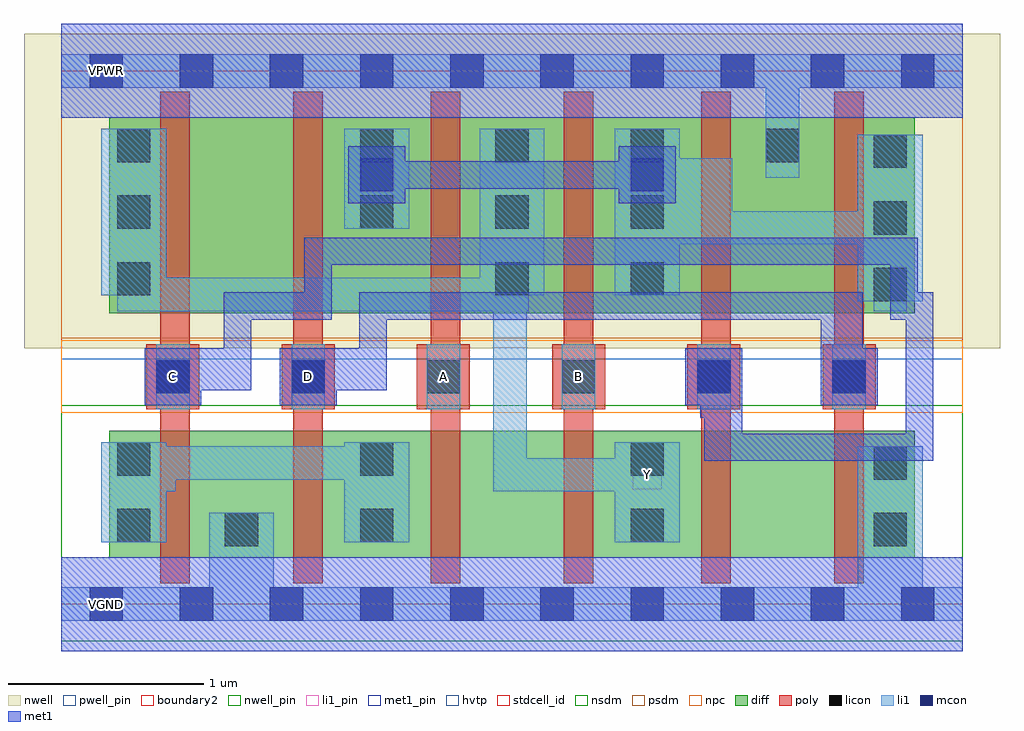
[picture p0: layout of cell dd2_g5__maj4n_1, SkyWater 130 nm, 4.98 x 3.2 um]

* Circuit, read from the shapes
.subckt dd2_g5__maj4n_1 A B C D VGND VNB VPB VPWR Y
XM1 VGND C n1 VNB sky130_fd_pr__nfet_01v8 w=0.65 l=0.15
XM2 n1 D VGND VNB sky130_fd_pr__nfet_01v8 w=0.65 l=0.15
XM3 n2 A n1 VNB sky130_fd_pr__nfet_01v8 w=0.65 l=0.15
XM4 Y B n2 VNB sky130_fd_pr__nfet_01v8 w=0.65 l=0.15
XM5 n3 C Y VNB sky130_fd_pr__nfet_01v8 w=0.65 l=0.15
XM6 VGND D n3 VNB sky130_fd_pr__nfet_01v8 w=0.65 l=0.15
XM7 n4 C Y VPB sky130_fd_pr__pfet_01v8_hvt w=1 l=0.15
XM8 n5 D n4 VPB sky130_fd_pr__pfet_01v8_hvt w=1 l=0.15
XM9 Y A n5 VPB sky130_fd_pr__pfet_01v8_hvt w=1 l=0.15
XM10 n5 B Y VPB sky130_fd_pr__pfet_01v8_hvt w=1 l=0.15
XM11 VPWR C n5 VPB sky130_fd_pr__pfet_01v8_hvt w=1 l=0.15
XM12 n5 D VPWR VPB sky130_fd_pr__pfet_01v8_hvt w=1 l=0.15
.ends

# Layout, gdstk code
import gdstk
lib = gdstk.Library(unit=1e-6, precision=1e-09)
def R(c, l, rs):  # rectangles x0, y0, x1, y1
    for r in rs: c.add(gdstk.rectangle(r[:2], r[2:], *l))
def A(c, l, x, y, w, h, nx, ny, dx, dy):  # array of equal rectangles
    R(c, l, [(x+i*dx, y+j*dy, x+i*dx+w, y+j*dy+h) for i in range(nx) for j in range(ny)])
nwell_pin = (64, 16)
nwell = (64, 20)
diff = (65, 20)
poly = (66, 20)
licon = (66, 44)
li1_pin = (67, 16)
li1 = (67, 20)
mcon = (67, 44)
met1_pin = (68, 16)
met1 = (68, 20)
hvtp = (78, 44)
stdcell_id = (81, 4)
nsdm = (93, 44)
psdm = (94, 20)
npc = (95, 20)
pwell_pin = (122, 16)
boundary2 = (236, 0)

dd2_g5__maj4n_1 = lib.new_cell('dd2_g5__maj4n_1')
R(dd2_g5__maj4n_1, nwell_pin, [(0.145,2.635,0.315,2.805)])
R(dd2_g5__maj4n_1, nwell, [(-0.19,1.305,4.79,2.91)])
R(dd2_g5__maj4n_1, diff, [(0.245,0.235,1.26,0.885), (0.58,0.235,1.96,0.885), (1.26,0.235,2.64,0.885), (1.96,0.235,3.34,0.885), (2.64,0.235,4.02,0.885), (3.34,0.235,4.355,0.885), (0.245,1.485,1.26,2.485), (0.58,1.485,1.96,2.485), (1.26,1.485,2.64,2.485), (1.96,1.485,3.34,2.485), (2.64,1.485,4.02,2.485), (3.34,1.485,4.355,2.485)])
A(dd2_g5__maj4n_1, poly, 0.435, 0.995, 0.27, 0.33, 6, 1, 0.69, 0)
R(dd2_g5__maj4n_1, poly, [(0.505,0.105,0.655,2.615), (1.185,0.105,1.335,2.615), (1.885,0.105,2.035,2.615), (2.565,0.105,2.715,2.615), (3.265,0.105,3.415,2.615), (3.945,0.105,4.095,2.615)])
A(dd2_g5__maj4n_1, licon, 0.485, 1.075, 0.17, 0.17, 6, 1, 0.69, 0)
A(dd2_g5__maj4n_1, licon, 4.145, 1.545, 0.17, 0.17, 1, 3, 0, 0.34)
A(dd2_g5__maj4n_1, licon, 0.285, 1.575, 0.17, 0.17, 1, 3, 0, 0.34)
A(dd2_g5__maj4n_1, licon, 1.525, 1.915, 0.17, 0.17, 3, 1, 0.69, 0)
A(dd2_g5__maj4n_1, licon, 1.525, 2.255, 0.17, 0.17, 4, 1, 0.69, 0)
R(dd2_g5__maj4n_1, licon, [(0.835,0.295,1.005,0.465), (4.145,0.295,4.315,0.465), (0.285,0.315,0.455,0.485), (1.525,0.315,1.695,0.485), (2.905,0.315,3.075,0.485), (4.145,0.635,4.315,0.805), (0.285,0.655,0.455,0.825), (1.525,0.655,1.695,0.825), (2.905,0.655,3.075,0.825), (2.215,1.575,2.385,1.745), (2.905,1.575,3.075,1.745)])
A(dd2_g5__maj4n_1, li1_pin, 0.495, 1.085, 0.15, 0.15, 6, 1, 0.69, 0)
R(dd2_g5__maj4n_1, li1_pin, [(0.145,-0.085,0.315,0.085), (2.915,0.585,3.065,0.735), (0.145,2.635,0.315,2.805)])
A(dd2_g5__maj4n_1, li1, 0.485, 0.995, 0.17, 0.33, 6, 1, 0.69, 0)
R(dd2_g5__maj4n_1, li1, [(0,-0.085,4.6,0.085), (0.755,0.085,1.085,0.465), (4.065,0.085,4.395,0.805), (0.205,0.315,0.535,0.575), (1.445,0.315,1.775,0.635), (2.825,0.315,3.155,0.575), (0.205,0.575,0.585,0.635), (2.205,0.575,3.155,0.745), (0.205,0.635,1.775,0.805), (2.205,0.745,2.375,1.495), (2.825,0.745,3.155,0.825), (0.205,0.805,0.535,0.825), (1.445,0.805,1.775,0.825), (0.285,1.495,2.385,1.575), (4.145,1.495,4.315,1.545), (4.065,1.545,4.395,1.835), (0.205,1.575,2.465,1.665), (2.825,1.575,3.155,1.835), (0.205,1.665,0.535,2.425), (2.135,1.665,2.465,2.425), (2.825,1.835,4.395,2.005), (1.445,1.915,1.775,2.425), (2.825,2.005,3.425,2.275), (4.065,2.005,4.395,2.395), (3.595,2.175,3.765,2.635), (2.825,2.275,3.155,2.425), (0,2.635,4.6,2.805)])
A(dd2_g5__maj4n_1, mcon, 0.145, -0.085, 0.17, 0.17, 10, 2, 0.46, 2.72)
R(dd2_g5__maj4n_1, mcon, [(0.485,1.075,0.655,1.245), (1.175,1.075,1.345,1.245), (3.245,1.075,3.415,1.245), (3.935,1.075,4.105,1.245), (1.525,2.105,1.695,2.275), (2.905,2.105,3.075,2.275)])
R(dd2_g5__maj4n_1, met1_pin, [(0.145,-0.085,0.315,0.085), (0.145,2.635,0.315,2.805)])
R(dd2_g5__maj4n_1, met1, [(0,-0.24,4.6,0.24), (3.28,0.73,4.45,0.87), (3.28,0.87,3.475,0.95), (4.31,0.87,4.45,1.45), (3.26,0.95,3.475,1.015), (0.425,1.015,0.715,1.09), (1.115,1.015,1.405,1.09), (3.185,1.015,3.475,1.305), (3.875,1.015,4.165,1.305), (0.425,1.09,0.97,1.305), (1.115,1.09,1.66,1.305), (0.83,1.305,0.97,1.45), (1.52,1.305,1.66,1.45), (3.875,1.305,4.09,1.45), (0.83,1.45,1.38,1.59), (1.52,1.45,4.09,1.59), (4.23,1.45,4.45,1.59), (1.24,1.59,1.38,1.73), (4.23,1.59,4.37,1.73), (1.24,1.73,4.37,1.87), (1.465,2.045,1.755,2.12), (2.845,2.045,3.135,2.12), (1.465,2.12,3.135,2.26), (1.465,2.26,1.755,2.335), (2.845,2.26,3.135,2.335), (0,2.48,4.6,2.96)])
R(dd2_g5__maj4n_1, hvtp, [(0,1.25,4.6,2.72)])
R(dd2_g5__maj4n_1, stdcell_id, [(0,0,4.6,2.72)])
R(dd2_g5__maj4n_1, nsdm, [(0,-0.19,4.6,1.015)])
R(dd2_g5__maj4n_1, psdm, [(0,1.355,4.6,2.91)])
R(dd2_g5__maj4n_1, npc, [(0,0.975,4.6,1.345)])
R(dd2_g5__maj4n_1, pwell_pin, [(0.145,-0.085,0.315,0.085)])
R(dd2_g5__maj4n_1, boundary2, [(0,0,4.6,2.72)])
dd2_g5__maj4n_1.add(gdstk.Label('VPWR', (0.23,2.72), layer=68, texttype=5))
dd2_g5__maj4n_1.add(gdstk.Label('VGND', (0.23,0), layer=68, texttype=5))
dd2_g5__maj4n_1.add(gdstk.Label('VPWR', (0.23,2.72), layer=67, texttype=5))
dd2_g5__maj4n_1.add(gdstk.Label('VGND', (0.23,0), layer=67, texttype=5))
dd2_g5__maj4n_1.add(gdstk.Label('A', (1.95,1.16), layer=67, texttype=5))
dd2_g5__maj4n_1.add(gdstk.Label('B', (2.64,1.16), layer=67, texttype=5))
dd2_g5__maj4n_1.add(gdstk.Label('C', (0.57,1.16), layer=67, texttype=5))
dd2_g5__maj4n_1.add(gdstk.Label('D', (1.26,1.16), layer=67, texttype=5))
dd2_g5__maj4n_1.add(gdstk.Label('Y', (2.99,0.66), layer=67, texttype=5))
dd2_g5__maj4n_1.add(gdstk.Label('VPB', (0.23,2.72), layer=64, texttype=5))
dd2_g5__maj4n_1.add(gdstk.Label('VNB', (0.23,0), layer=64, texttype=59))

lib.write_gds('dd2_g5__maj4n_1.gds')
